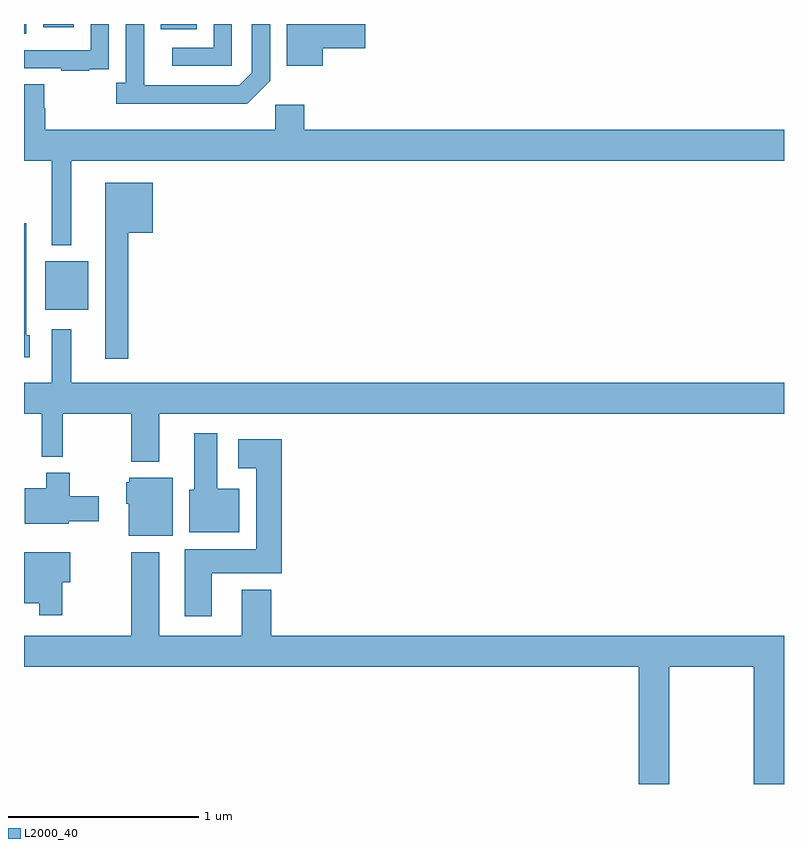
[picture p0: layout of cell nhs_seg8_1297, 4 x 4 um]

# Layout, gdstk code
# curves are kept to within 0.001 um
import gdstk
lib = gdstk.Library(unit=1e-6, precision=1e-09)
def R(c, l, rs):  # rectangles x0, y0, x1, y1
    for r in rs: c.add(gdstk.rectangle(r[:2], r[2:], *l))
def P(c, l, *ps):  # polygons
    for p in ps: c.add(gdstk.Polygon(p, *l))
L2000_40 = (2000, 40)

nhs_seg8_1297 = lib.new_cell('nhs_seg8_1297')
R(nhs_seg8_1297, L2000_40, [(193.112,1102.397,193.339,1102.651), (193,1103.848,193.012,1103.9), (193.721,1103.873,193.909,1103.9), (193.1,1103.883,193.261,1103.9)])
P(nhs_seg8_1297, L2000_40, [(194.572,1103.773),(194.797,1103.773),(194.797,1103.9),(194.384,1103.9),(194.384,1103.681),(194.572,1103.681)],
  [(194.094,1103.9),(193.998,1103.9),(193.998,1103.775),(193.779,1103.775),(193.779,1103.679),(194.094,1103.679)],
  [(193.343,1103.661),(193.445,1103.661),(193.445,1103.77),(193.446,1103.77),(193.446,1103.9),(193.35,1103.9),(193.35,1103.763),(193,1103.763),(193,1103.667),(193.195,1103.667),(193.195,1103.655),(193.343,1103.655)],
  [(194.295,1103.601),(194.295,1103.9),(194.199,1103.9),(194.199,1103.643),(194.133,1103.577),(193.633,1103.577),(193.632,1103.9),(193.536,1103.9),(193.536,1103.59),(193.485,1103.59),(193.485,1103.48),(194.174,1103.48)],
  [(193.249,1103.18),(197,1103.18),(197,1103.344),(194.474,1103.344),(194.474,1103.476),(194.322,1103.476),(194.322,1103.344),(193.112,1103.344),(193.112,1103.457),(193.107,1103.457),(193.107,1103.582),(193,1103.582),(193,1103.18),(193.145,1103.18),(193.145,1102.736),(193.249,1102.736)],
  [(193.549,1102.802),(193.678,1102.802),(193.678,1103.065),(193.427,1103.065),(193.427,1102.137),(193.549,1102.137)],
  [(193.03,1102.263),(193.012,1102.263),(193.012,1102.852),(193,1102.852),(193,1102.145),(193.03,1102.145)],
  [(193.711,1101.848),(197,1101.848),(197,1102.012),(193.249,1102.012),(193.249,1102.294),(193.145,1102.294),(193.145,1102.012),(193,1102.012),(193,1101.848),(193.094,1101.848),(193.094,1101.623),(193.204,1101.623),(193.204,1101.848),(193.564,1101.848),(193.564,1101.596),(193.711,1101.596)],
  [(194.134,1101.454),(194.017,1101.454),(194.017,1101.745),(193.895,1101.745),(193.895,1101.45),(193.871,1101.45),(193.871,1101.224),(194.134,1101.224)],
  [(193.987,1101.008),(194.357,1101.008),(194.357,1101.715),(194.127,1101.715),(194.127,1101.563),(194.222,1101.563),(194.222,1101.136),(193.847,1101.136),(193.847,1100.784),(193.987,1100.784)],
  [(193.236,1101.284),(193.393,1101.284),(193.393,1101.414),(193.24,1101.414),(193.24,1101.538),(193.118,1101.538),(193.118,1101.457),(193.004,1101.457),(193.004,1101.269),(193.236,1101.269)],
  [(193.783,1101.511),(193.554,1101.511),(193.554,1101.489),(193.538,1101.489),(193.538,1101.375),(193.55,1101.375),(193.55,1101.206),(193.783,1101.206)],
  [(196.395,1100.516),(196.84,1100.516),(196.84,1099.9),(197,1099.9),(197,1100.68),(194.3,1100.68),(194.3,1100.923),(194.147,1100.923),(194.147,1100.68),(193.711,1100.68),(193.711,1101.121),(193.564,1101.121),(193.564,1100.68),(193,1100.68),(193,1100.516),(196.235,1100.516),(196.235,1099.9),(196.395,1099.9)],
  [(193.201,1100.963),(193.243,1100.963),(193.243,1101.121),(193,1101.121),(193,1100.852),(193.08,1100.852),(193.08,1100.787),(193.201,1100.787)])

lib.write_gds('nhs_seg8_1297.gds')
